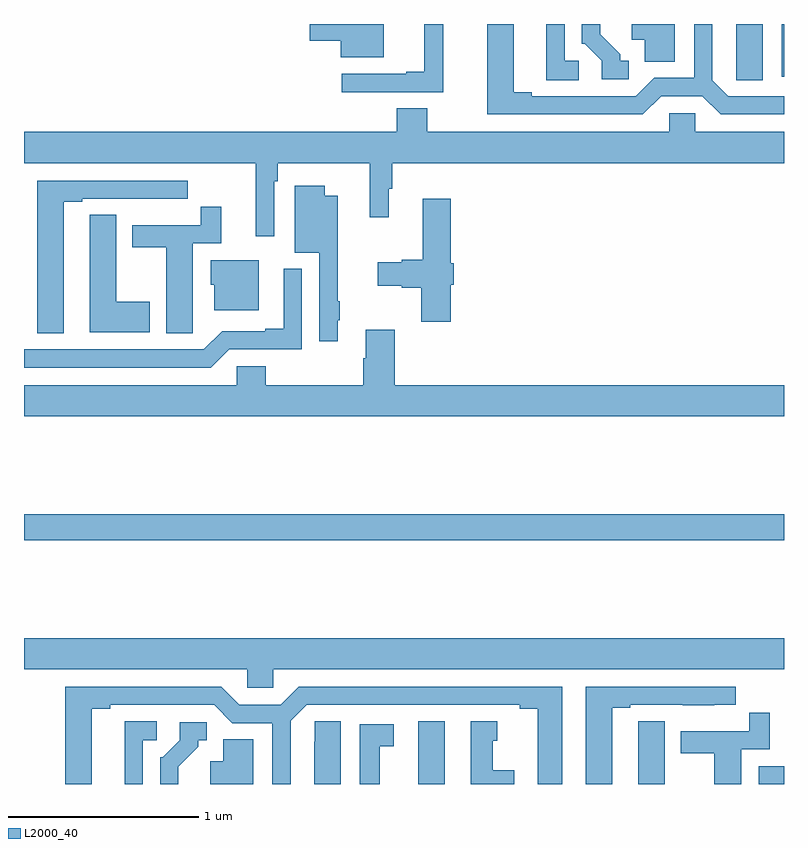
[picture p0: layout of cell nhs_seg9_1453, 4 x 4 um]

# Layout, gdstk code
import gdstk
lib = gdstk.Library(unit=1e-6, precision=1e-09)
def R(c, l, rs):  # rectangles x0, y0, x1, y1
    for r in rs: c.add(gdstk.rectangle(r[:2], r[2:], *l))
def P(c, l, *ps):  # polygons
    for p in ps: c.add(gdstk.Polygon(p, *l))
L2000_40 = (2000, 40)

nhs_seg9_1453 = lib.new_cell('nhs_seg9_1453')
R(nhs_seg9_1453, L2000_40, [(195.074,1178.5,195.214,1178.83), (196.868,1178.5,197,1178.593), (193,1179.784,197,1179.92), (196.988,1182.222,197,1182.5)])
P(nhs_seg9_1453, L2000_40, [(196.888,1182.5),(196.748,1182.5),(196.748,1182.313),(196.749,1182.313),(196.749,1182.205),(196.888,1182.205)],
  [(194.893,1182.5),(194.505,1182.5),(194.505,1182.413),(194.666,1182.413),(194.666,1182.326),(194.893,1182.326)],
  [(196.353,1182.12),(196.571,1182.12),(196.667,1182.024),(197,1182.024),(197,1182.12),(196.707,1182.12),(196.623,1182.204),(196.623,1182.5),(196.527,1182.5),(196.527,1182.216),(196.317,1182.216),(196.221,1182.12),(195.673,1182.12),(195.673,1182.14),(195.577,1182.14),(195.577,1182.5),(195.437,1182.5),(195.437,1182.024),(196.257,1182.024)],
  [(195.207,1182.5),(195.107,1182.5),(195.107,1182.25),(195.011,1182.25),(195.011,1182.237),(194.673,1182.237),(194.673,1182.141),(195.207,1182.141)],
  [(195.919,1182.306),(195.846,1182.306),(195.846,1182.5),(195.749,1182.5),(195.749,1182.205),(195.919,1182.205)],
  [(196.426,1182.5),(196.199,1182.5),(196.199,1182.416),(196.268,1182.416),(196.268,1182.301),(196.426,1182.301)],
  [(196.183,1182.306),(196.138,1182.306),(196.138,1182.341),(196.033,1182.446),(196.033,1182.5),(195.936,1182.5),(195.936,1182.396),(195.951,1182.396),(196.041,1182.306),(196.041,1182.21),(196.183,1182.21)],
  [(194.316,1181.672),(194.336,1181.672),(194.336,1181.768),(194.821,1181.768),(194.821,1181.484),(194.92,1181.484),(194.92,1181.634),(194.939,1181.634),(194.939,1181.768),(197,1181.768),(197,1181.932),(196.533,1181.932),(196.533,1182.03),(196.395,1182.03),(196.395,1181.932),(195.123,1181.932),(195.123,1182.056),(194.963,1182.056),(194.963,1181.932),(193,1181.932),(193,1181.768),(194.219,1181.768),(194.219,1181.382),(194.316,1181.382)],
  [(193.21,1181.565),(193.306,1181.565),(193.306,1181.58),(193.582,1181.58),(193.582,1181.579),(193.748,1181.579),(193.748,1181.58),(193.861,1181.58),(193.861,1181.676),(193.07,1181.676),(193.07,1180.873),(193.21,1180.873)],
  [(194.65,1180.942),(194.662,1180.942),(194.662,1181.042),(194.651,1181.042),(194.651,1181.301),(194.65,1181.301),(194.65,1181.596),(194.584,1181.596),(194.584,1181.65),(194.426,1181.65),(194.426,1181.297),(194.553,1181.297),(194.553,1180.83),(194.65,1180.83)],
  [(195.245,1181.127),(195.263,1181.127),(195.263,1181.241),(195.245,1181.241),(195.245,1181.581),(195.098,1181.581),(195.098,1181.258),(194.988,1181.258),(194.988,1181.245),(194.862,1181.245),(194.862,1181.123),(194.988,1181.123),(194.988,1181.111),(195.091,1181.111),(195.091,1180.932),(195.245,1180.932)],
  [(193.887,1180.984),(193.888,1180.984),(193.888,1181.346),(194.039,1181.346),(194.039,1181.539),(193.93,1181.539),(193.93,1181.442),(193.571,1181.442),(193.571,1181.326),(193.748,1181.326),(193.748,1180.873),(193.887,1180.873)],
  [(193.663,1181.037),(193.486,1181.037),(193.486,1181.495),(193.347,1181.495),(193.347,1181.387),(193.346,1181.387),(193.346,1180.877),(193.663,1180.877)],
  [(194.236,1181.257),(193.982,1181.257),(193.982,1181.127),(194,1181.127),(194,1180.994),(194.236,1180.994)],
  [(194.079,1180.788),(194.463,1180.788),(194.463,1181.212),(194.366,1181.212),(194.366,1180.897),(194.27,1180.897),(194.27,1180.884),(194.043,1180.884),(193.947,1180.788),(193,1180.788),(193,1180.692),(193.983,1180.692)],
  [(197,1180.6),(194.951,1180.6),(194.951,1180.891),(194.798,1180.891),(194.798,1180.742),(194.786,1180.742),(194.786,1180.6),(194.273,1180.6),(194.273,1180.698),(194.121,1180.698),(194.121,1180.6),(193,1180.6),(193,1180.436),(197,1180.436)],
  [(194.313,1179.104),(197,1179.104),(197,1179.268),(193,1179.268),(193,1179.104),(194.175,1179.104),(194.175,1179.006),(194.313,1179.006)],
  [(193.357,1178.896),(193.453,1178.896),(193.453,1178.916),(194.001,1178.916),(194.097,1178.82),(194.307,1178.82),(194.307,1178.5),(194.403,1178.5),(194.403,1178.832),(194.487,1178.916),(195.608,1178.916),(195.608,1178.896),(195.704,1178.896),(195.704,1178.5),(195.832,1178.5),(195.832,1179.012),(194.447,1179.012),(194.351,1178.916),(194.133,1178.916),(194.037,1179.012),(193.217,1179.012),(193.217,1178.5),(193.357,1178.5)],
  [(196.096,1178.901),(196.192,1178.901),(196.192,1178.916),(196.468,1178.916),(196.468,1178.915),(196.634,1178.915),(196.634,1178.916),(196.747,1178.916),(196.747,1179.012),(195.956,1179.012),(195.956,1178.5),(196.096,1178.5)],
  [(196.774,1178.682),(196.925,1178.682),(196.925,1178.875),(196.816,1178.875),(196.816,1178.778),(196.457,1178.778),(196.457,1178.662),(196.634,1178.662),(196.634,1178.5),(196.774,1178.5)],
  [(194.668,1178.831),(194.529,1178.831),(194.529,1178.723),(194.528,1178.723),(194.528,1178.5),(194.668,1178.5)],
  [(193.626,1178.73),(193.699,1178.73),(193.699,1178.831),(193.529,1178.831),(193.529,1178.5),(193.626,1178.5)],
  [(196.372,1178.831),(196.233,1178.831),(196.233,1178.723),(196.232,1178.723),(196.232,1178.5),(196.372,1178.5)],
  [(195.58,1178.572),(195.466,1178.572),(195.466,1178.727),(195.49,1178.727),(195.49,1178.83),(195.35,1178.83),(195.35,1178.5),(195.58,1178.5)],
  [(193.813,1178.59),(193.918,1178.695),(193.918,1178.73),(193.963,1178.73),(193.963,1178.826),(193.821,1178.826),(193.821,1178.73),(193.731,1178.64),(193.716,1178.64),(193.716,1178.5),(193.813,1178.5)],
  [(194.872,1178.698),(194.947,1178.698),(194.947,1178.814),(194.768,1178.814),(194.768,1178.5),(194.872,1178.5)],
  [(194.206,1178.735),(194.048,1178.735),(194.048,1178.62),(193.979,1178.62),(193.979,1178.5),(194.206,1178.5)])

lib.write_gds('nhs_seg9_1453.gds')
